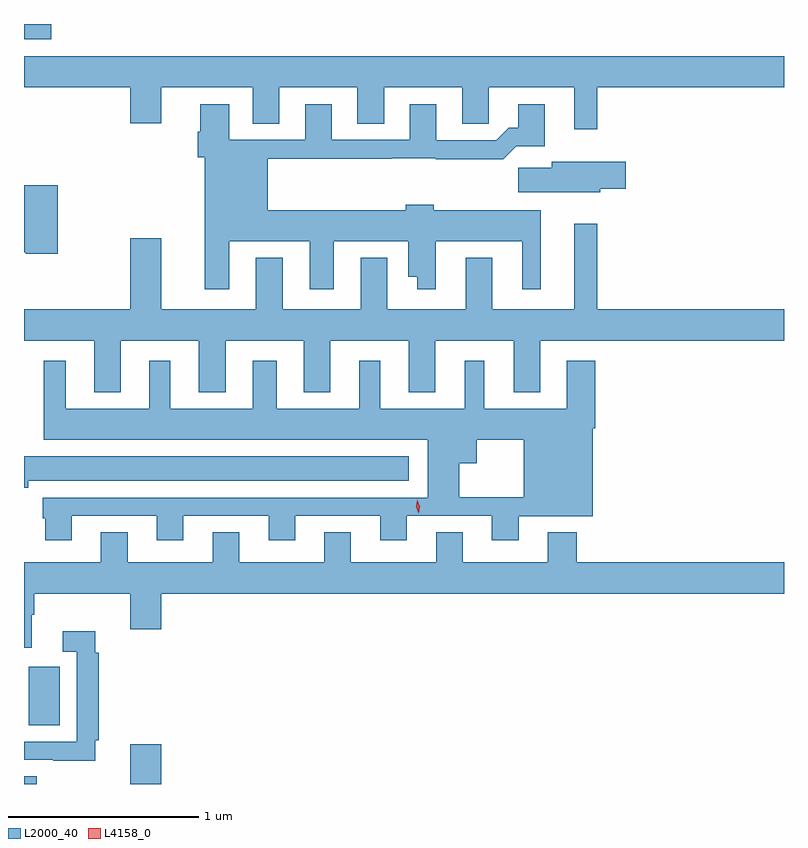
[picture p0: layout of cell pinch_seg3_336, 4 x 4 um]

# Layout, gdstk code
import gdstk
lib = gdstk.Library(unit=1e-6, precision=1e-09)
def R(c, l, rs):  # rectangles x0, y0, x1, y1
    for r in rs: c.add(gdstk.rectangle(r[:2], r[2:], *l))
def P(c, l, *ps):  # polygons
    for p in ps: c.add(gdstk.Polygon(p, *l))
L2000_40 = (2000, 40)
L4158_0 = (4158, 0)

pinch_seg3_336 = lib.new_cell('pinch_seg3_336')
R(pinch_seg3_336, L2000_40, [(1003.61,717.23,1003.677,717.272), (1004.168,717.23,1004.332,717.439), (1003.634,717.54,1003.798,717.847), (1003.61,721.149,1003.754,721.23)])
P(pinch_seg3_336, L2000_40, [(1006.627,720.896),(1007.61,720.896),(1007.61,721.06),(1003.61,721.06),(1003.61,720.896),(1004.168,720.896),(1004.168,720.708),(1004.332,720.708),(1004.332,720.896),(1004.813,720.896),(1004.813,720.706),(1004.953,720.706),(1004.953,720.896),(1005.365,720.896),(1005.365,720.706),(1005.505,720.706),(1005.505,720.896),(1005.917,720.896),(1005.917,720.706),(1006.056,720.706),(1006.056,720.896),(1006.505,720.896),(1006.505,720.675),(1006.627,720.675)],
  [(1004.689,720.086),(1005.113,720.086),(1005.113,719.835),(1005.241,719.835),(1005.241,720.086),(1005.632,720.086),(1005.632,719.9),(1005.68,719.9),(1005.68,719.835),(1005.778,719.835),(1005.778,720.086),(1006.232,720.086),(1006.232,719.835),(1006.33,719.835),(1006.33,720.25),(1005.767,720.25),(1005.767,720.28),(1005.62,720.28),(1005.62,720.25),(1004.893,720.25),(1004.893,720.52),(1005.545,720.52),(1005.545,720.523),(1005.777,720.523),(1005.777,720.518),(1006.133,720.518),(1006.202,720.587),(1006.351,720.587),(1006.351,720.808),(1006.211,720.808),(1006.211,720.685),(1006.162,720.685),(1006.095,720.618),(1005.781,720.618),(1005.781,720.808),(1005.641,720.808),(1005.641,720.621),(1005.229,720.621),(1005.229,720.808),(1005.089,720.808),(1005.089,720.621),(1004.689,720.621),(1004.689,720.808),(1004.537,720.808),(1004.537,720.662),(1004.525,720.662),(1004.525,720.528),(1004.561,720.528),(1004.561,719.835),(1004.689,719.835)],
  [(1006.642,720.362),(1006.777,720.362),(1006.777,720.505),(1006.388,720.505),(1006.388,720.473),(1006.212,720.473),(1006.212,720.344),(1006.642,720.344)],
  [(1003.787,720.382),(1003.61,720.382),(1003.61,720.03),(1003.62,720.03),(1003.62,720.022),(1003.787,720.022)],
  [(1004.119,719.564),(1004.531,719.564),(1004.531,719.291),(1004.671,719.291),(1004.671,719.564),(1005.083,719.564),(1005.083,719.291),(1005.223,719.291),(1005.223,719.564),(1005.635,719.564),(1005.635,719.291),(1005.775,719.291),(1005.775,719.564),(1006.187,719.564),(1006.187,719.291),(1006.327,719.291),(1006.327,719.564),(1007.61,719.564),(1007.61,719.728),(1006.627,719.728),(1006.627,720.178),(1006.505,720.178),(1006.505,719.728),(1006.075,719.728),(1006.075,720.001),(1005.935,720.001),(1005.935,719.728),(1005.523,719.728),(1005.523,720.001),(1005.383,720.001),(1005.383,719.728),(1004.971,719.728),(1004.971,720.001),(1004.831,720.001),(1004.831,719.728),(1004.332,719.728),(1004.332,720.103),(1004.168,720.103),(1004.168,719.728),(1003.61,719.728),(1003.61,719.564),(1003.979,719.564),(1003.979,719.291),(1004.119,719.291)],
  [(1003.709,718.737),(1003.709,718.629),(1003.721,718.629),(1003.721,718.512),(1003.861,718.512),(1003.861,718.641),(1004.309,718.641),(1004.309,718.512),(1004.449,718.512),(1004.449,718.641),(1004.897,718.641),(1004.897,718.512),(1005.037,718.512),(1005.037,718.641),(1005.485,718.641),(1005.485,718.512),(1005.625,718.512),(1005.625,718.641),(1006.073,718.641),(1006.073,718.512),(1006.213,718.512),(1006.213,718.64),(1006.603,718.64),(1006.603,719.102),(1006.616,719.102),(1006.616,719.458),(1006.466,719.458),(1006.466,719.206),(1006.033,719.206),(1006.033,719.458),(1005.929,719.458),(1005.929,719.206),(1005.484,719.206),(1005.484,719.458),(1005.374,719.458),(1005.374,719.206),(1004.941,719.206),(1004.941,719.458),(1004.813,719.458),(1004.813,719.206),(1004.38,719.206),(1004.38,719.458),(1004.27,719.458),(1004.27,719.206),(1003.831,719.206),(1003.831,719.458),(1003.715,719.458),(1003.715,719.042),(1005.734,719.042),(1005.734,718.739),(1005.9,718.739),(1005.9,718.919),(1005.994,718.919),(1005.994,719.042),(1006.241,719.042),(1006.241,718.739),(1005.9,718.739),(1005.734,718.739),(1005.734,718.737)],
  [(1003.633,718.826),(1005.634,718.826),(1005.634,718.954),(1003.61,718.954),(1003.61,718.79),(1003.633,718.79)],
  [(1003.651,718.12),(1003.664,718.12),(1003.664,718.232),(1004.168,718.232),(1004.168,718.044),(1004.332,718.044),(1004.332,718.232),(1007.61,718.232),(1007.61,718.396),(1006.52,718.396),(1006.52,718.555),(1006.367,718.555),(1006.367,718.396),(1005.919,718.396),(1005.919,718.556),(1005.779,718.556),(1005.779,718.396),(1005.331,718.396),(1005.331,718.556),(1005.191,718.556),(1005.191,718.396),(1004.743,718.396),(1004.743,718.556),(1004.603,718.556),(1004.603,718.396),(1004.155,718.396),(1004.155,718.556),(1004.015,718.556),(1004.015,718.396),(1003.61,718.396),(1003.61,717.946),(1003.651,717.946)],
  [(1003.985,717.46),(1004.003,717.46),(1004.003,717.92),(1003.985,717.92),(1003.985,718.033),(1003.815,718.033),(1003.815,717.927),(1003.887,717.927),(1003.887,717.453),(1003.61,717.453),(1003.61,717.357),(1003.765,717.357),(1003.765,717.352),(1003.985,717.352)])
P(pinch_seg3_336, L4158_0, [(1005.688,718.656),(1005.688,718.656),(1005.674,718.689),(1005.68,718.724),(1005.68,718.725),(1005.68,718.724),(1005.694,718.691),(1005.688,718.656)])

lib.write_gds('pinch_seg3_336.gds')
